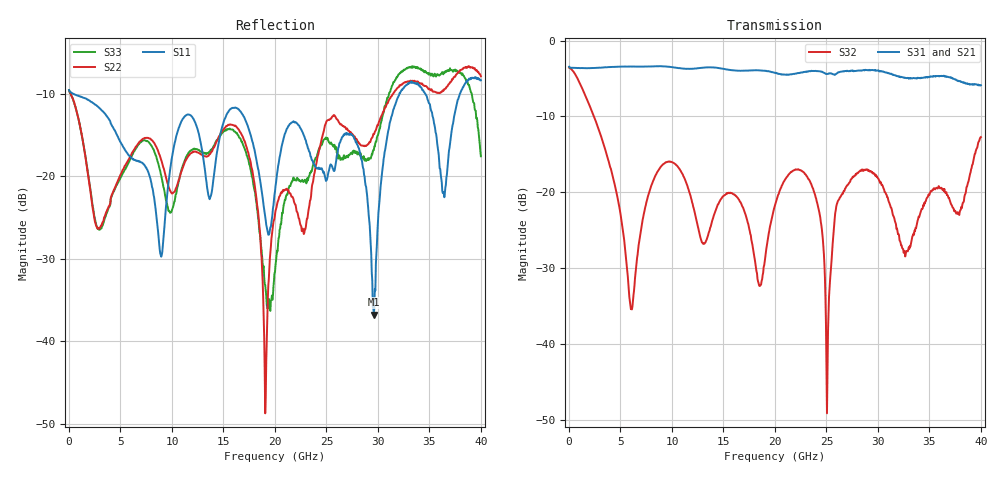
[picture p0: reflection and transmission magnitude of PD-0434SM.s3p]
! MARKI MICROWAVE INC.
! Email:  support@markimicrowave.com  Phone:  408-778-4200
! Model Number:  PD0434SM  Date:  02/15
! Filename:		PD-0434SM.S3P  Version: 1.1
! Description:  3-port S-parameter data for Power Divider PD-0434SM
! Frequency Range: 	10 MHz to 40 GHz
! Port Configuration:	PORT 1: COMMON, PORT 2 and Port 3: Output
! S3P File: Measurements: Mag<S11> Ang<S11> Mag<S12> Ang<S12> Mag<S13> Ang<S13>! row 1
!  Mag<S21> Ang<S21> Mag<S22> Ang<S22> Mag<S23> Ang<S23>! row 2
!  Mag<S31> Ang<S31> Mag<S32> Ang<S32> Mag<S33> Ang<S33>! row 3
# Hz S  dB  R 50
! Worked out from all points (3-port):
!   801 points, 10 MHz to 40 GHz, reference 50 ohm
!   strongest paths, dB at 10 MHz, 10.01 GHz, 20 GHz, 30 GHz, 40 GHz:
!     S31: -3.4, -3.5, -4.3, -3.9, -5.9
!     S21: -3.6, -3.6, -4.3, -4.2, -6.8
!     S32: -3.6, -16.0, -21.7, -18.2, -12.7
!   lowest |S11| = -36.7 dB at 29.6 GHz (marker M1), VSWR 1.03, Z = 48.6 - j0.118 ohm
!   |S11| at or under -10 dB: 468.7 MHz to 32.08 GHz (31.61 GHz wide, 194 % of centre); 34.61 GHz to 37.95 GHz (3.336 GHz wide, 9.19 % of centre)
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1e7  -9.53 173.5  -3.58 -0.6  -3.49 -0.2
     -3.58 0.0  -9.58 172.8  -3.63 -1.2
     -3.44 0.2  -3.57 -0.6  -9.55 172.8
6.058488e9  -17.75 76.3  -3.44 -149.2  -3.41 -149.4
            -3.45 -149.2  -17.32 157.7  -35.39 -77.4
            -3.41 -149.4  -35.35 -77.7  -17.63 157.0
1.035741e10  -15.43 163.7  -3.63 102.8  -3.56 102.0
             -3.64 102.8  -21.50 146.3  -16.32 -119.5
             -3.57 102.1  -16.32 -119.5  -22.22 167.7
1.430642e10  -17.58 -53.2  -3.61 4.0  -3.57 3.3
             -3.62 4.1  -15.81 -148.2  -22.16 -28.2
             -3.57 3.4  -22.16 -28.2  -15.65 -139.0
1.905524e10  -24.89 143.1  -4.06 -115.0  -4.00 -115.9
             -4.07 -114.9  -48.71 89.0  -28.55 27.4
             -3.99 -115.8  -28.60 27.9  -33.16 88.0
2.0005e10  -21.82 30.7  -4.34 -139.0  -4.27 -140.1
           -4.34 -138.9  -24.65 -48.5  -21.74 -25.9
           -4.25 -140.0  -21.72 -25.8  -31.58 -55.2
2.510372e10  -20.10 -33.9  -4.59 94.7  -4.42 93.4
             -4.58 94.8  -13.19 33.6  -43.22 -78.7
             -4.39 93.5  -43.10 -77.5  -15.31 47.7
2.96026e10  -36.74 -175.2  -4.18 -20.6  -3.94 -24.5
            -4.17 -20.6  -14.89 11.0  -17.55 -169.5
            -3.91 -24.3  -17.52 -169.7  -16.81 -28.6
3.535116e10  -12.85 -97.1  -4.62 -169.8  -4.74 -174.0
             -4.61 -169.6  -9.72 -21.9  -19.63 -166.0
             -4.76 -173.6  -19.70 -166.5  -7.81 -24.1
4e10  -8.34 13.7  -6.85 64.6  -5.85 57.5
      -6.83 65.0  -7.85 -28.4  -12.74 -173.5
      -5.89 57.7  -12.72 -173.6  -17.55 -3.1
